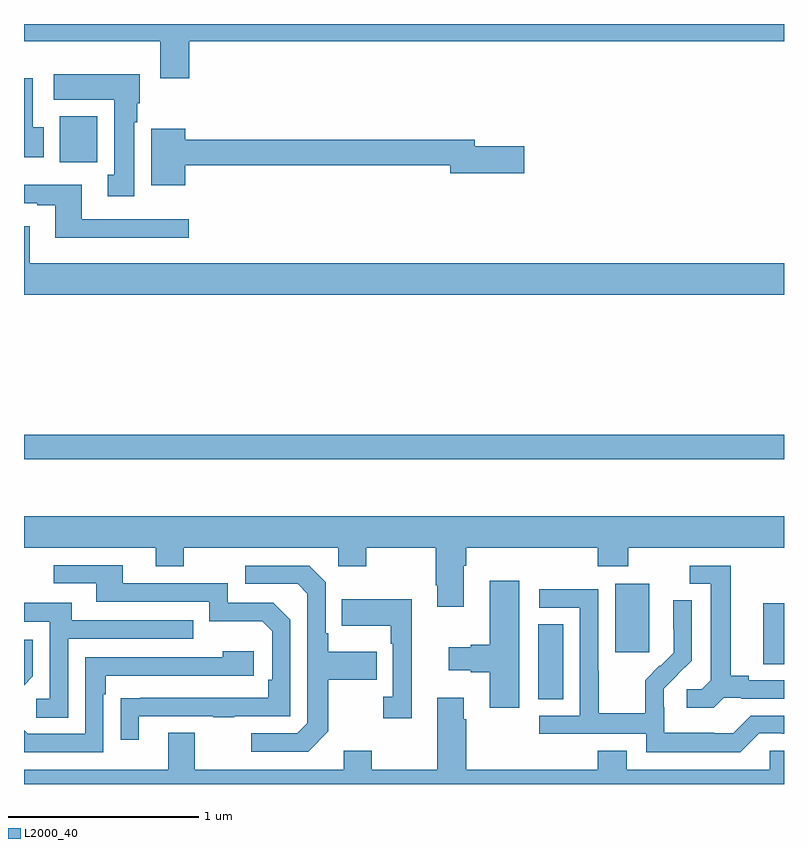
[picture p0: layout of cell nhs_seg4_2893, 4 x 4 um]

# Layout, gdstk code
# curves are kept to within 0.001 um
import gdstk
lib = gdstk.Library(unit=1e-6, precision=1e-09)
def R(c, l, rs):  # rectangles x0, y0, x1, y1
    for r in rs: c.add(gdstk.rectangle(r[:2], r[2:], *l))
def P(c, l, *ps):  # polygons
    for p in ps: c.add(gdstk.Polygon(p, *l))
L2000_40 = (2000, 40)

nhs_seg4_2893 = lib.new_cell('nhs_seg4_2893')
R(nhs_seg4_2893, L2000_40, [(265.706,805.345,265.837,805.742), (266.891,805.531,267,805.851), (266.111,805.593,266.29,805.954), (263,806.61,267,806.738), (263.189,808.172,263.386,808.414)])
P(nhs_seg4_2893, L2000_40, [(263.87,808.808),(267,808.808),(267,808.9),(263,808.9),(263,808.808),(263.717,808.808),(263.717,808.614),(263.87,808.614)],
  [(263.581,808.382),(263.596,808.382),(263.596,808.482),(263.608,808.482),(263.608,808.636),(263.157,808.636),(263.157,808.502),(263.474,808.502),(263.474,808.106),(263.441,808.106),(263.441,807.993),(263.581,807.993)],
  [(263.104,808.356),(263.047,808.356),(263.047,808.615),(263,808.615),(263,808.2),(263.104,808.2)],
  [(263.848,808.156),(265.244,808.156),(265.244,808.114),(265.633,808.114),(265.633,808.256),(265.372,808.256),(265.372,808.292),(263.848,808.292),(263.848,808.348),(263.669,808.348),(263.669,808.052),(263.848,808.052)],
  [(263.866,807.873),(263.305,807.873),(263.305,808.054),(263,808.054),(263,807.957),(263.069,807.957),(263.069,807.945),(263.165,807.945),(263.165,807.776),(263.866,807.776)],
  [(267,807.64),(263.029,807.64),(263.029,807.835),(263,807.835),(263,807.476),(267,807.476)],
  [(265.315,806.048),(265.328,806.048),(265.328,806.144),(266.021,806.144),(266.021,806.045),(266.181,806.045),(266.181,806.144),(267,806.144),(267,806.308),(263,806.308),(263,806.144),(263.693,806.144),(263.693,806.045),(263.841,806.045),(263.841,806.144),(264.654,806.144),(264.654,806.045),(264.801,806.045),(264.801,806.144),(265.168,806.144),(265.168,805.945),(265.175,805.945),(265.175,805.833),(265.315,805.833)],
  [(263.605,805.257),(263.995,805.257),(263.995,805.252),(264.107,805.252),(264.107,805.257),(264.402,805.257),(264.402,805.764),(264.312,805.854),(264.072,805.854),(264.072,805.956),(263.521,805.956),(263.521,806.052),(263.157,806.052),(263.157,805.956),(263.381,805.956),(263.381,805.86),(263.976,805.86),(263.976,805.757),(264.253,805.757),(264.306,805.704),(264.306,805.45),(264.286,805.45),(264.286,805.353),(263.509,805.352),(263.509,805.134),(263.605,805.134)],
  [(264.601,805.177),(264.601,805.45),(264.857,805.45),(264.857,805.597),(264.601,805.597),(264.601,805.693),(264.588,805.693),(264.588,805.962),(264.501,806.049),(264.165,806.049),(264.165,805.953),(264.441,805.953),(264.492,805.902),(264.492,805.221),(264.438,805.167),(264.195,805.167),(264.195,805.071),(264.495,805.071)],
  [(266.682,805.353),(266.776,805.353),(266.776,805.35),(267,805.35),(267,805.446),(266.815,805.446),(266.815,805.469),(266.719,805.469),(266.719,806.049),(266.505,806.049),(266.505,805.953),(266.615,805.953),(266.615,805.445),(266.568,805.398),(266.487,805.398),(266.487,805.301),(266.63,805.301)],
  [(265.606,805.969),(265.451,805.969),(265.451,805.634),(265.352,805.634),(265.352,805.621),(265.236,805.621),(265.236,805.499),(265.352,805.499),(265.352,805.487),(265.451,805.487),(265.451,805.302),(265.606,805.302)],
  [(266.871,805.167),(266.987,805.167),(266.987,805.164),(267,805.164),(267,805.26),(266.826,805.26),(266.733,805.167),(266.633,805.167),(266.633,805.171),(266.37,805.171),(266.37,805.305),(266.368,805.305),(266.368,805.402),(266.514,805.55),(266.514,805.868),(266.418,805.868),(266.418,805.714),(266.42,805.714),(266.42,805.592),(266.349,805.521),(266.346,805.524),(266.269,805.447),(266.269,805.273),(266.025,805.273),(266.025,805.496),(266.022,805.496),(266.022,805.926),(265.713,805.926),(265.713,805.827),(265.926,805.827),(265.926,805.26),(265.713,805.26),(265.713,805.164),(266.274,805.164),(266.274,805.067),(266.771,805.067)],
  [(265.04,805.873),(264.673,805.873),(264.673,805.733),(264.93,805.733),(264.93,805.637),(264.942,805.637),(264.942,805.358),(264.891,805.358),(264.891,805.245),(265.04,805.245)],
  [(263.232,805.665),(263.891,805.665),(263.891,805.761),(263.251,805.761),(263.251,805.855),(263,805.855),(263,805.755),(263.136,805.755),(263.136,805.35),(263.064,805.35),(263.064,805.249),(263.232,805.249)],
  [(263.046,805.466),(263.046,805.66),(263,805.66),(263,805.42)],
  [(263.418,805.373),(263.431,805.373),(263.431,805.47),(264.208,805.47),(264.208,805.6),(264.047,805.6),(264.047,805.566),(263.322,805.566),(263.322,805.164),(263.019,805.164),(263,805.183),(263,805.068),(263.418,805.068)],
  [(267,805.074),(266.925,805.074),(266.925,804.976),(266.173,804.976),(266.173,805.075),(266.021,805.075),(266.021,804.976),(265.328,804.976),(265.328,805.241),(265.315,805.241),(265.315,805.354),(265.175,805.354),(265.175,804.976),(264.831,804.976),(264.831,805.075),(264.683,805.075),(264.683,804.976),(263.899,804.976),(263.899,805.171),(263.759,805.171),(263.759,804.976),(263,804.976),(263,804.9),(267,804.9)])

lib.write_gds('nhs_seg4_2893.gds')
